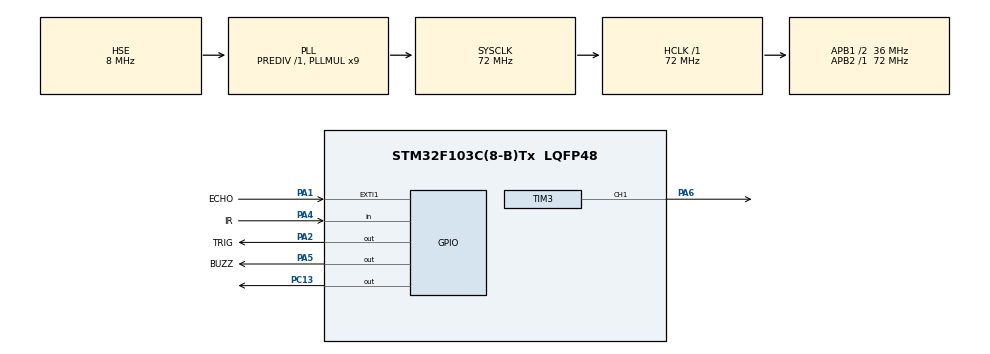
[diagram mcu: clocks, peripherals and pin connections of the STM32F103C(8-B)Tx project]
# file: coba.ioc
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IWDG.Prescaler=IWDG_PRESCALER_64
Mcu.Family=STM32F1
Mcu.Name=STM32F103C(8-B)Tx
Mcu.Package=LQFP48
NVIC.EXTI1_IRQn=true\:0\:0\:false\:false\:true\:true\:true\:true
NVIC.PriorityGroup=NVIC_PRIORITYGROUP_4
PA1.GPIO_Label=ECHO
PA1.GPIO_ModeDefaultEXTI=GPIO_MODE_IT_RISING_FALLING
PA1.GPIO_PuPd=GPIO_PULLDOWN
PA1.Signal=GPXTI1
PA13.Mode=Serial_Wire
PA13.Signal=SYS_JTMS-SWDIO
PA14.Mode=Serial_Wire
PA14.Signal=SYS_JTCK-SWCLK
PA2.GPIO_Label=TRIG
PA2.Signal=GPIO_Output
PA4.GPIO_Label=IR
PA4.Signal=GPIO_Input
PA5.GPIO_Label=BUZZ
PA5.Signal=GPIO_Output
PA6.Signal=S_TIM3_CH1
PC13-TAMPER-RTC.Signal=GPIO_Output
PD0-OSC_IN.Mode=HSE-External-Oscillator
PD0-OSC_IN.Signal=RCC_OSC_IN
PD1-OSC_OUT.Mode=HSE-External-Oscillator
PD1-OSC_OUT.Signal=RCC_OSC_OUT
ProjectManager.HeapSize=0x200
ProjectManager.StackSize=0x400
ProjectManager.TargetToolchain=STM32CubeIDE
RCC.AHBFreq_Value=72000000
RCC.APB1CLKDivider=RCC_HCLK_DIV2
RCC.APB1Freq_Value=36000000
RCC.APB1TimFreq_Value=72000000
RCC.APB2Freq_Value=72000000
RCC.APB2TimFreq_Value=72000000
RCC.HCLKFreq_Value=72000000
RCC.PLLMUL=RCC_PLL_MUL9
RCC.PLLSourceVirtual=RCC_PLLSOURCE_HSE
RCC.SYSCLKFreq_VALUE=72000000
RCC.SYSCLKSource=RCC_SYSCLKSOURCE_PLLCLK
RCC.USBFreq_Value=72000000
SH.S_TIM3_CH1.0=TIM3_CH1,PWM Generation1 CH1
TIM2.Prescaler=71
TIM3.Channel-PWM\ Generation1\ CH1=TIM_CHANNEL_1
TIM3.Period=20000-1
TIM3.Prescaler=71
TIM3.Pulse-PWM\ Generation1\ CH1=1500
VP_IWDG_VS_IWDG.Mode=IWDG_Activate
VP_TIM2_VS_ClockSourceINT.Mode=Internal
VP_TIM3_VS_ClockSourceINT.Mode=Internal
board=custom

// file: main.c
/* USER CODE BEGIN Header */
/**
  ******************************************************************************
  * @file           : main.c
  * @brief          : Main program body
  ******************************************************************************
  * @attention
  *
  * Copyright (c) 2025 STMicroelectronics.
  * All rights reserved.
  *
  * This software is licensed under terms that can be found in the LICENSE file
  * in the root directory of this software component.
  * If no LICENSE file comes with this software, it is provided AS-IS.
  *
  ******************************************************************************
  */
/* USER CODE END Header */
#include "main.h"

/* USER CODE BEGIN Includes */
#define GPIO_SET_PIN(port, pin) ((port)->BSRR = (pin))
#define GPIO_CLEAR_PIN(port, pin) ((port)->BSRR = (pin << 16u))

/*#define SYSTICK_LOAD (SystemCoreClock/1000000U)
#define SYSTICK_DELAY_CALIB (SYSTICK_LOAD >> 1)

#define DELAY_US(us)\
	do{\
		uint32_t start = SysTick->VAL;\
		uint32_t ticks = (us * SYSTICK_LOAD)-SYSTICK_DELAY_CALIB;\
		while((start - SysTick->VAL) < ticks);\
	}while (0) */
/* USER CODE END Includes */

IWDG_HandleTypeDef hiwdg;

TIM_HandleTypeDef htim2;
TIM_HandleTypeDef htim3;

/* USER CODE BEGIN PV */
uint32_t start_time = 0, end_time = 0;
uint8_t capture_done = 0;
float distance;

uint32_t pintu_timer = 0;
uint32_t buka_timer = 0;
uint32_t ultra_timer = 0;
static uint16_t pulse = 800;

uint32_t beep_until = 0;
uint32_t wd_led_until = 0;
uint8_t wd_reset_flag = 0;
// State
typedef enum{
	IDLE_TUTUP = 0,
	BUKA,
	STAY,
	TUTUP,
	TUNGGU_TUTUP,
	ERROR_PINTU
} state_pintu;

state_pintu state = IDLE_TUTUP;
/* USER CODE END PV */

void SystemClock_Config(void);
static void MX_GPIO_Init(void);
static void MX_IWDG_Init(void);
static void MX_TIM2_Init(void);
static void MX_TIM3_Init(void);
/* USER CODE BEGIN PFP */
void trigger_ultrasonik(void);
void servo_buka(void);
void servo_tutup(void);
void bunyi(uint16_t dur_ms);
float baca_jarak(void);
uint8_t cek_pintu(void);
void handle_state_pintu(void);
/* USER CODE END PFP */

/* USER CODE BEGIN 0 */

static inline void DELAY_US(uint32_t us)
{
    uint32_t start = __HAL_TIM_GET_COUNTER(&htim2);
    uint32_t target = (start + us) & 0xFFFFu;
    if (start <= target) {
        while (__HAL_TIM_GET_COUNTER(&htim2) < target) { }
    } else {
        while (__HAL_TIM_GET_COUNTER(&htim2) >= start) { }
        while (__HAL_TIM_GET_COUNTER(&htim2) < target) { }
    }
}

void trigger_ultrasonik(void)
{
	GPIO_SET_PIN(GPIOA, TRIG_Pin);
	DELAY_US(10);
	GPIO_CLEAR_PIN(GPIOA, TRIG_Pin);
}

float baca_jarak(void)
{
	capture_done = 0;
	trigger_ultrasonik();
	uint32_t timeout = HAL_GetTick();
	uint32_t durasi;

	while(!capture_done){
		if(HAL_GetTick() - timeout > 100)
			return 999.0f;
	}

	if(end_time >= start_time) durasi = end_time - start_time;
	else durasi = (htim2.Init.Period -start_time)+end_time;
	return (durasi * 0.0343f)/2.0f;
}

void servo_buka(void)
{
	pulse = 2000;
	__HAL_TIM_SET_COMPARE(&htim3, TIM_CHANNEL_1, pulse);
}

void servo_tutup(void)
{
	static uint32_t last_move = 0;

	if (HAL_GetTick()-last_move > 20){
		last_move = HAL_GetTick();

		if (pulse > 800) {
			pulse -= 10;
		}
		__HAL_TIM_SET_COMPARE(&htim3, TIM_CHANNEL_1, pulse);
	}
}

void bunyi(uint16_t dur_ms)
{
	GPIO_SET_PIN(GPIOA, BUZZ_Pin);
	beep_until = HAL_GetTick() + dur_ms;
}

uint8_t cek_pintu(void)
{
	return (HAL_GPIO_ReadPin(IR_GPIO_Port, IR_Pin)==GPIO_PIN_SET);
}

void HAL_GPIO_EXTI_Callback(uint16_t GPIO_Pin)
{
	if(GPIO_Pin == ECHO_Pin){
		if(HAL_GPIO_ReadPin(ECHO_GPIO_Port, ECHO_Pin)==GPIO_PIN_SET){
			start_time = __HAL_TIM_GET_COUNTER(&htim2);
		}
		else
		{
			end_time = __HAL_TIM_GET_COUNTER(&htim2);
			capture_done = 1;
		}
	}
}

void handle_state_pintu(void)
{
	switch(state){
	  	  case IDLE_TUTUP:
	  		  buka_timer = 0;
	  		  if(distance>2 && distance<20.0f){
	  			  servo_buka();
	  			  bunyi(50);
	  			  state = BUKA;
	  		  }
	  		  break;
	  	  case BUKA:
	  		  if(buka_timer == 0){
	  			  buka_timer = HAL_GetTick();
	  		  }

	  		  if(pulse >= 1900){
	  			  buka_timer = 0;
	  			  pintu_timer = HAL_GetTick();
	  			  state = STAY;
	  			  break;
	  		  }
	  		  if(HAL_GetTick()-buka_timer>=500){
	  			  buka_timer = 0;
	  			  state = ERROR_PINTU;
	  			  break;
	  		  }
	  		  servo_buka();
	  		  break;
	  	  case STAY:
	  		  if(distance>2 && distance<20.0f){
	  			  servo_buka();
	  			  bunyi(50);
	  			  pintu_timer = HAL_GetTick();
	  		  }
	  		  if(HAL_GetTick() - pintu_timer >= 3000){
	  			  state = TUTUP;
	  		  }
	  		  break;
	  	  case TUTUP:
	  		  if(distance>2 && distance<= 20.0f){
	  			  servo_buka();
	  			  bunyi(50);
	  			  state = BUKA;
	  			  break;
	  		  }
	  		  servo_tutup();

	  		  if(pulse <= 2000)
	  			  bunyi(100);

	  		  if(pulse <= 800){
	  			  pintu_timer = HAL_GetTick();
	  			  state = TUNGGU_TUTUP;
	  		  }
	  		  break;
	  	  case TUNGGU_TUTUP:
	  		  if(HAL_GetTick() - pintu_timer >= 400){
	  			  if(cek_pintu()){
	  				  state = ERROR_PINTU;
	  			  } else {
	  				  state = IDLE_TUTUP;
	  			  }
	  		  }
	  		  break;
	  	  case ERROR_PINTU:
	  		  break;
	  }
}
/* USER CODE END 0 */

int main(void)
{

  /* MCU Configuration--------------------------------------------------------*/

  /* Reset of all peripherals, Initializes the Flash interface and the Systick. */
  HAL_Init();

  /* Configure the system clock */
  SystemClock_Config();

  /* USER CODE BEGIN SysInit */
  if(__HAL_RCC_GET_FLAG(RCC_FLAG_IWDGRST)){
	  wd_reset_flag = 1;

	  GPIO_CLEAR_PIN(GPIOC, GPIO_PIN_13);
	  wd_led_until = HAL_GetTick() + 500;
  }
  __HAL_RCC_CLEAR_RESET_FLAGS();
  /* USER CODE END SysInit */

  /* Initialize all configured peripherals */
  MX_GPIO_Init();
  MX_IWDG_Init();
  MX_TIM2_Init();
  MX_TIM3_Init();
  /* USER CODE BEGIN 2 */
  HAL_TIM_PWM_Start(&htim3, TIM_CHANNEL_1);
  HAL_TIM_Base_Start(&htim2);

  ultra_timer = HAL_GetTick();

  pulse = 800;
  __HAL_TIM_SET_COMPARE(&htim3, TIM_CHANNEL_1, pulse);
  state = IDLE_TUTUP;
  /* USER CODE END 2 */

  /* Infinite loop */
  /* USER CODE BEGIN WHILE */
  while (1)
  {
	  if(wd_reset_flag && wd_led_until && HAL_GetTick()>=wd_led_until){
		  GPIO_SET_PIN(GPIOC, GPIO_PIN_13);
		  wd_led_until = 0;
		  wd_reset_flag = 0;
	  }

	  if (state != ERROR_PINTU){
		  HAL_IWDG_Refresh(&hiwdg);
	  }

	  if(HAL_GetTick() - ultra_timer >= 100){
		  ultra_timer = HAL_GetTick();
		  distance = baca_jarak();
	  }

	  if (beep_until && HAL_GetTick() >= beep_until) {
	      GPIO_CLEAR_PIN(GPIOA, BUZZ_Pin);
	      beep_until = 0;
	  }

	  handle_state_pintu();
    /* USER CODE END WHILE */

  }
}

void SystemClock_Config(void)
{
  RCC_OscInitTypeDef RCC_OscInitStruct = {0};
  RCC_ClkInitTypeDef RCC_ClkInitStruct = {0};

  /** Initializes the RCC Oscillators according to the specified parameters
  * in the RCC_OscInitTypeDef structure.
  */
  RCC_OscInitStruct.OscillatorType = RCC_OSCILLATORTYPE_LSI|RCC_OSCILLATORTYPE_HSE;
  RCC_OscInitStruct.HSEState = RCC_HSE_ON;
  RCC_OscInitStruct.HSEPredivValue = RCC_HSE_PREDIV_DIV1;
  RCC_OscInitStruct.HSIState = RCC_HSI_ON;
  RCC_OscInitStruct.LSIState = RCC_LSI_ON;
  RCC_OscInitStruct.PLL.PLLState = RCC_PLL_ON;
  RCC_OscInitStruct.PLL.PLLSource = RCC_PLLSOURCE_HSE;
  RCC_OscInitStruct.PLL.PLLMUL = RCC_PLL_MUL9;
  if (HAL_RCC_OscConfig(&RCC_OscInitStruct) != HAL_OK)
  {
    Error_Handler();
  }

  /** Initializes the CPU, AHB and APB buses clocks
  */
  RCC_ClkInitStruct.ClockType = RCC_CLOCKTYPE_HCLK|RCC_CLOCKTYPE_SYSCLK
                              |RCC_CLOCKTYPE_PCLK1|RCC_CLOCKTYPE_PCLK2;
  RCC_ClkInitStruct.SYSCLKSource = RCC_SYSCLKSOURCE_PLLCLK;
  RCC_ClkInitStruct.AHBCLKDivider = RCC_SYSCLK_DIV1;
  RCC_ClkInitStruct.APB1CLKDivider = RCC_HCLK_DIV2;
  RCC_ClkInitStruct.APB2CLKDivider = RCC_HCLK_DIV1;

  if (HAL_RCC_ClockConfig(&RCC_ClkInitStruct, FLASH_LATENCY_2) != HAL_OK)
  {
    Error_Handler();
  }
}

static void MX_IWDG_Init(void)
{

  hiwdg.Instance = IWDG;
  hiwdg.Init.Prescaler = IWDG_PRESCALER_32;
  hiwdg.Init.Reload = 4095;
  if (HAL_IWDG_Init(&hiwdg) != HAL_OK)
  {
    Error_Handler();
  }

}

static void MX_TIM2_Init(void)
{

  TIM_ClockConfigTypeDef sClockSourceConfig = {0};
  TIM_MasterConfigTypeDef sMasterConfig = {0};

  htim2.Instance = TIM2;
  htim2.Init.Prescaler = 71;
  htim2.Init.CounterMode = TIM_COUNTERMODE_UP;
  htim2.Init.Period = 65535;
  htim2.Init.ClockDivision = TIM_CLOCKDIVISION_DIV1;
  htim2.Init.AutoReloadPreload = TIM_AUTORELOAD_PRELOAD_DISABLE;
  if (HAL_TIM_Base_Init(&htim2) != HAL_OK)
  {
    Error_Handler();
  }
  sClockSourceConfig.ClockSource = TIM_CLOCKSOURCE_INTERNAL;
  if (HAL_TIM_ConfigClockSource(&htim2, &sClockSourceConfig) != HAL_OK)
  {
    Error_Handler();
  }
  sMasterConfig.MasterOutputTrigger = TIM_TRGO_RESET;
  sMasterConfig.MasterSlaveMode = TIM_MASTERSLAVEMODE_DISABLE;
  if (HAL_TIMEx_MasterConfigSynchronization(&htim2, &sMasterConfig) != HAL_OK)
  {
    Error_Handler();
  }

}

static void MX_TIM3_Init(void)
{

  TIM_ClockConfigTypeDef sClockSourceConfig = {0};
  TIM_MasterConfigTypeDef sMasterConfig = {0};
  TIM_OC_InitTypeDef sConfigOC = {0};

  htim3.Instance = TIM3;
  htim3.Init.Prescaler = 71;
  htim3.Init.CounterMode = TIM_COUNTERMODE_UP;
  htim3.Init.Period = 20000-1;
  htim3.Init.ClockDivision = TIM_CLOCKDIVISION_DIV1;
  htim3.Init.AutoReloadPreload = TIM_AUTORELOAD_PRELOAD_DISABLE;
  if (HAL_TIM_Base_Init(&htim3) != HAL_OK)
  {
    Error_Handler();
  }
  sClockSourceConfig.ClockSource = TIM_CLOCKSOURCE_INTERNAL;
  if (HAL_TIM_ConfigClockSource(&htim3, &sClockSourceConfig) != HAL_OK)
  {
    Error_Handler();
  }
  if (HAL_TIM_PWM_Init(&htim3) != HAL_OK)
  {
    Error_Handler();
  }
  sMasterConfig.MasterOutputTrigger = TIM_TRGO_RESET;
  sMasterConfig.MasterSlaveMode = TIM_MASTERSLAVEMODE_DISABLE;
  if (HAL_TIMEx_MasterConfigSynchronization(&htim3, &sMasterConfig) != HAL_OK)
  {
    Error_Handler();
  }
  sConfigOC.OCMode = TIM_OCMODE_PWM1;
  sConfigOC.Pulse = 1500;
  sConfigOC.OCPolarity = TIM_OCPOLARITY_HIGH;
  sConfigOC.OCFastMode = TIM_OCFAST_DISABLE;
  if (HAL_TIM_PWM_ConfigChannel(&htim3, &sConfigOC, TIM_CHANNEL_1) != HAL_OK)
  {
    Error_Handler();
  }
  HAL_TIM_MspPostInit(&htim3);

}

static void MX_GPIO_Init(void)
{
  GPIO_InitTypeDef GPIO_InitStruct = {0};

  /* GPIO Ports Clock Enable */
  __HAL_RCC_GPIOC_CLK_ENABLE();
  __HAL_RCC_GPIOD_CLK_ENABLE();
  __HAL_RCC_GPIOA_CLK_ENABLE();

  /*Configure GPIO pin Output Level */
  HAL_GPIO_WritePin(GPIOC, GPIO_PIN_13, GPIO_PIN_RESET);

  /*Configure GPIO pin Output Level */
  HAL_GPIO_WritePin(GPIOA, TRIG_Pin|BUZZ_Pin, GPIO_PIN_RESET);

  /*Configure GPIO pin : PC13 */
  GPIO_InitStruct.Pin = GPIO_PIN_13;
  GPIO_InitStruct.Mode = GPIO_MODE_OUTPUT_PP;
  GPIO_InitStruct.Pull = GPIO_NOPULL;
  GPIO_InitStruct.Speed = GPIO_SPEED_FREQ_LOW;
  HAL_GPIO_Init(GPIOC, &GPIO_InitStruct);

  /*Configure GPIO pin : ECHO_Pin */
  GPIO_InitStruct.Pin = ECHO_Pin;
  GPIO_InitStruct.Mode = GPIO_MODE_IT_RISING_FALLING;
  GPIO_InitStruct.Pull = GPIO_PULLDOWN;
  HAL_GPIO_Init(ECHO_GPIO_Port, &GPIO_InitStruct);

  /*Configure GPIO pins : TRIG_Pin BUZZ_Pin */
  GPIO_InitStruct.Pin = TRIG_Pin|BUZZ_Pin;
  GPIO_InitStruct.Mode = GPIO_MODE_OUTPUT_PP;
  GPIO_InitStruct.Pull = GPIO_NOPULL;
  GPIO_InitStruct.Speed = GPIO_SPEED_FREQ_LOW;
  HAL_GPIO_Init(GPIOA, &GPIO_InitStruct);

  /*Configure GPIO pin : IR_Pin */
  GPIO_InitStruct.Pin = IR_Pin;
  GPIO_InitStruct.Mode = GPIO_MODE_INPUT;
  GPIO_InitStruct.Pull = GPIO_NOPULL;
  HAL_GPIO_Init(IR_GPIO_Port, &GPIO_InitStruct);

  /* EXTI interrupt init*/
  HAL_NVIC_SetPriority(EXTI1_IRQn, 0, 0);
  HAL_NVIC_EnableIRQ(EXTI1_IRQn);

}

void Error_Handler(void)
{
  __disable_irq();
  while (1)
  {
  }
}
